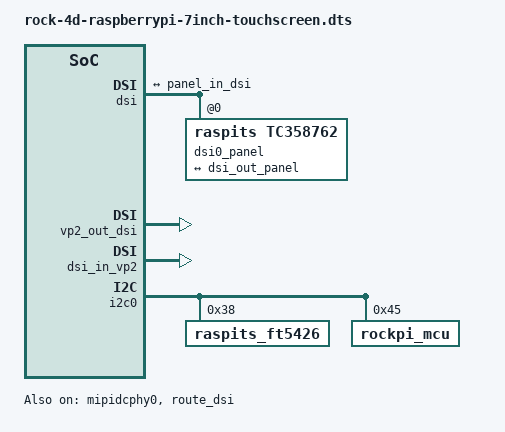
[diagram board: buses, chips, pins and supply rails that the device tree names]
/dts-v1/;
/plugin/;

/ {
	metadata {
		title = "Enable Raspberry Pi 7-inch Touchscreen";
		compatible = "radxa,rock-4d";
		category = "display";
		exclusive = "dsi";
		description = "Enable Raspberry Pi 7-inch Touchscreen.";
	};
};

&dsi {
	status = "okay";
	#address-cells = <1>;
	#size-cells = <0>;
	rockchip,lane-rate = <605>;

	dsi0_panel: dsi-panel@0 {
		compatible = "raspits,tc358762";
		reg = <0x0>;
		status = "okay";
		rockchip,lane-rate = <600>;

		display_timings0: display-timings {
			native-mode = <&dsi0_timing>;

			dsi0_timing: timing0 {
				clock-frequency = <26000000>;
				hactive = <800>;
				vactive = <480>;

				hsync-len = <85>;
				hback-porch = <55>;
				hfront-porch = <42>;

				vsync-len = <12>;
				vback-porch = <7>;
				vfront-porch = <10>;

				hsync-active = <0>;
				vsync-active = <0>;
				de-active = <0>;
				pixelclk-active = <0>;
			};
		};

		ports {
			#address-cells = <1>;
			#size-cells = <0>;

			port@0 {
				reg = <0>;
				panel_in_dsi: endpoint {
					remote-endpoint = <&dsi_out_panel>;
				};
			};
		};
	};

	ports {
		#address-cells = <1>;
		#size-cells = <0>;

		port@1 {
			reg = <1>;
			dsi_out_panel: endpoint {
				remote-endpoint = <&panel_in_dsi>;
			};
		};
	};
};

&mipidcphy0 {
	status = "okay";
};

&route_dsi {
	status = "okay";
	connect = <&vp2_out_dsi>;
};

&vp2_out_dsi {
	status = "okay";
};

&dsi_in_vp2 {
	status = "okay";
};

&vp1_out_dsi {
	status = "disabled";
};

&dsi_in_vp1 {
	status = "disabled";
};

&i2c0 {
	status = "okay";
	pinctrl-names = "default";
	pinctrl-0 = <&i2c0m1_xfer>;
	#address-cells = <1>;
	#size-cells = <0>;

	raspits_ft5426: raspits_ft5426@38 {
		compatible = "raspits_ft5426";
		reg = <0x38>;
	};

	rockpi_mcu: rockpi-mcu@45 {
		compatible = "rockpi_mcu";
		reg = <0x45>;
	};
};
